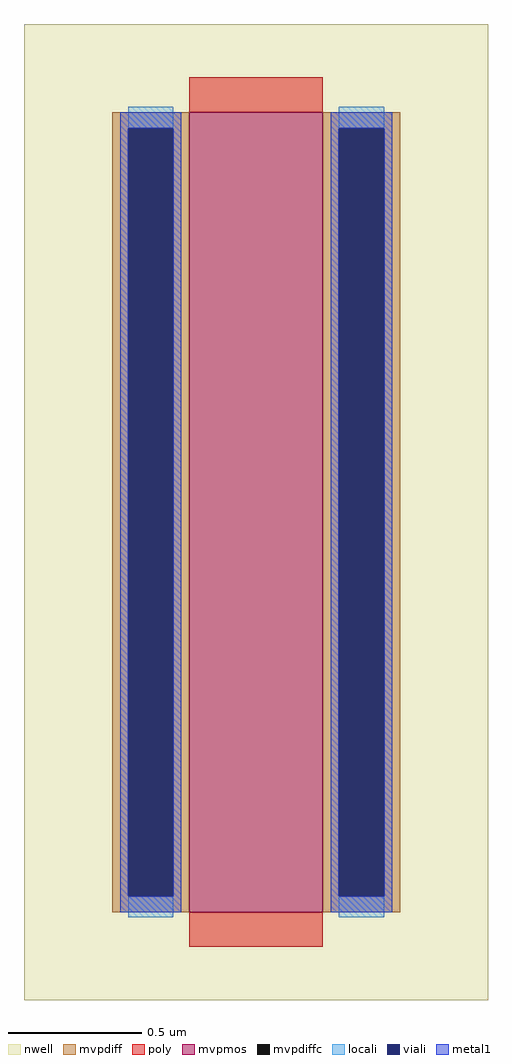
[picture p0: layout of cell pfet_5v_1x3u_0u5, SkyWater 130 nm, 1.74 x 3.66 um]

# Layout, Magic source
magic
tech sky130A
<< nwell >>
rect -55 9 119 375
<< mvpmos >>
rect 7 42 57 342
<< mvpdiff >>
rect -22 336 7 342
rect -22 48 -16 336
rect 1 48 7 336
rect -22 42 7 48
rect 57 336 86 342
rect 57 48 63 336
rect 80 48 86 336
rect 57 42 86 48
<< mvpdiffc >>
rect -16 48 1 336
rect 63 48 80 336
<< poly >>
rect 7 342 57 355
rect 7 29 57 42
<< locali >>
rect -16 336 1 344
rect -16 40 1 48
rect 63 336 80 344
rect 63 40 80 48
<< viali >>
rect -16 48 1 336
rect 63 48 80 336
<< metal1 >>
rect -19 336 4 342
rect -19 48 -16 336
rect 1 48 4 336
rect -19 42 4 48
rect 60 336 83 342
rect 60 48 63 336
rect 80 48 83 336
rect 60 42 83 48
<< end >>
